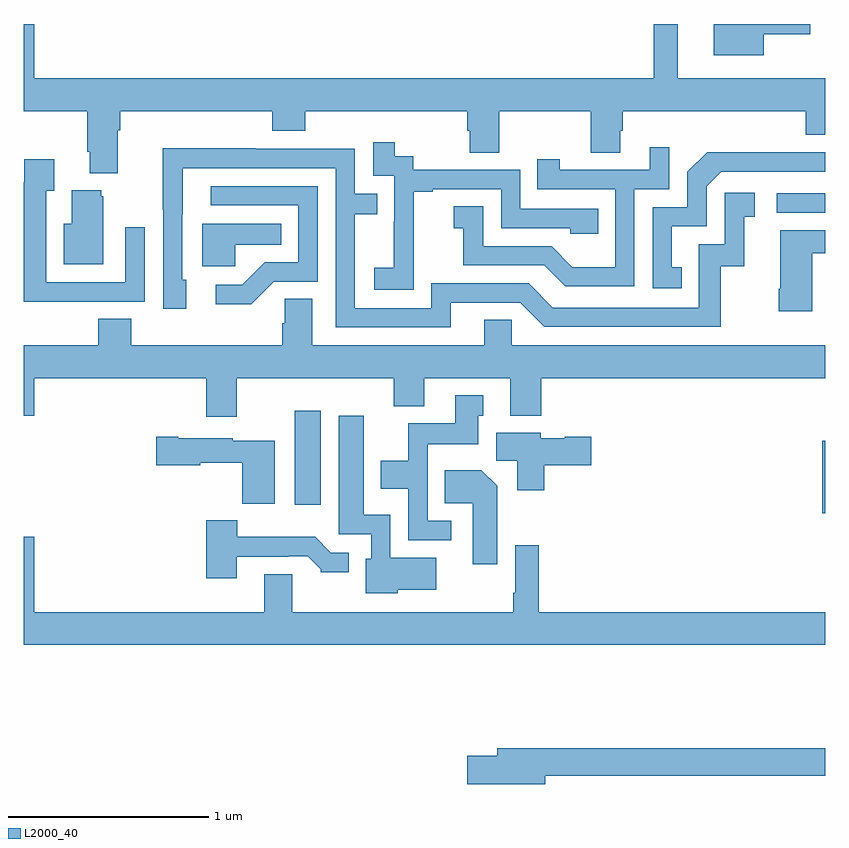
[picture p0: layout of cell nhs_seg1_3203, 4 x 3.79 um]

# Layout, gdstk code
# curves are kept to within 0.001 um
import gdstk
lib = gdstk.Library(unit=1e-6, precision=1e-09)
def R(c, l, rs):  # rectangles x0, y0, x1, y1
    for r in rs: c.add(gdstk.rectangle(r[:2], r[2:], *l))
def P(c, l, *ps):  # polygons
    for p in ps: c.add(gdstk.Polygon(p, *l))
L2000_40 = (2000, 40)

nhs_seg1_3203 = lib.new_cell('nhs_seg1_3203')
R(nhs_seg1_3203, L2000_40, [(288.986,517.758,289,518.118), (286.352,517.8,286.483,518.269), (288.759,519.258,289,519.354)])
P(nhs_seg1_3203, L2000_40, [(288.694,520.148),(288.925,520.148),(288.925,520.199),(288.443,520.199),(288.443,520.043),(288.694,520.043)],
  [(285.469,519.668),(285.482,519.668),(285.482,519.764),(286.241,519.764),(286.241,519.665),(286.406,519.665),(286.406,519.764),(287.213,519.764),(287.213,519.666),(287.225,519.666),(287.225,519.556),(287.373,519.556),(287.373,519.764),(287.83,519.764),(287.83,519.556),(287.977,519.556),(287.977,519.666),(287.99,519.666),(287.99,519.764),(288.902,519.764),(288.902,519.647),(289,519.647),(289,519.928),(288.265,519.928),(288.265,520.199),(288.144,520.199),(288.144,519.928),(285.052,519.928),(285.052,520.199),(285,520.199),(285,519.764),(285.317,519.764),(285.317,519.562),(285.329,519.562),(285.329,519.455),(285.469,519.455)],
  [(286.947,519.079),(286.946,519.079),(286.946,519.363),(287.041,519.363),(287.041,519.375),(287.382,519.375),(287.382,519.18),(287.727,519.18),(287.727,519.153),(287.867,519.153),(287.867,519.276),(287.478,519.276),(287.478,519.471),(286.944,519.471),(286.944,519.54),(286.852,519.54),(286.852,519.61),(286.743,519.61),(286.743,519.441),(286.848,519.441),(286.848,519.212),(286.847,519.212),(286.847,518.983),(286.749,518.983),(286.749,518.873),(286.947,518.873)],
  [(288.048,519.375),(288.222,519.375),(288.222,519.583),(288.125,519.583),(288.125,519.471),(287.674,519.471),(287.674,519.523),(287.563,519.523),(287.563,519.375),(287.952,519.375),(287.952,518.986),(287.738,518.986),(287.634,519.09),(287.292,519.09),(287.292,519.289),(287.145,519.289),(287.145,519.179),(287.194,519.179),(287.194,518.994),(287.597,518.994),(287.702,518.889),(288.048,518.889)],
  [(287.131,518.808),(287.478,518.808),(287.598,518.688),(288.478,518.688),(288.478,518.991),(288.596,518.991),(288.596,519.237),(288.649,519.237),(288.649,519.358),(288.498,519.358),(288.498,519.099),(288.369,519.099),(288.369,518.784),(287.64,518.784),(287.52,518.904),(287.034,518.904),(287.034,518.781),(286.653,518.781),(286.653,519.25),(286.763,519.25),(286.763,519.351),(286.653,519.351),(286.653,519.576),(286.157,519.576),(286.157,519.578),(285.694,519.578),(285.694,519.271),(285.696,519.271),(285.696,518.778),(285.811,518.778),(285.811,518.922),(285.792,518.922),(285.793,519.48),(286.557,519.48),(286.557,518.685),(287.131,518.685)],
  [(288.284,518.985),(288.235,518.985),(288.235,519.189),(288.408,519.189),(288.408,519.39),(288.48,519.462),(289,519.462),(289,519.558),(288.818,519.558),(288.818,519.56),(288.41,519.56),(288.312,519.462),(288.312,519.285),(288.138,519.285),(288.138,518.88),(288.284,518.88)],
  [(285.287,518.814),(285.603,518.814),(285.603,519.184),(285.507,519.184),(285.507,518.91),(285.111,518.91),(285.111,519.367),(285.151,519.367),(285.151,519.523),(285.003,519.523),(285.003,519.41),(285,519.41),(285,518.813),(285.287,518.813)],
  [(286.248,518.913),(286.467,518.913),(286.467,519.39),(285.933,519.39),(285.933,519.294),(286.371,519.294),(286.371,519.009),(286.202,519.009),(286.091,518.898),(285.957,518.898),(285.957,518.801),(286.135,518.801)],
  [(285.397,519.339),(285.386,519.339),(285.386,519.37),(285.239,519.37),(285.239,519.202),(285.2,519.202),(285.2,518.999),(285.397,518.999)],
  [(286.056,519.098),(286.286,519.098),(286.286,519.202),(285.89,519.202),(285.89,518.99),(286.056,518.99)],
  [(288.934,519.055),(289,519.055),(289,519.169),(288.776,519.169),(288.776,518.878),(288.769,518.878),(288.769,518.766),(288.934,518.766)],
  [(287.297,518.723),(287.297,518.596),(286.441,518.596),(286.441,518.828),(286.302,518.828),(286.302,518.705),(286.289,518.705),(286.289,518.596),(285.536,518.596),(285.536,518.729),(285.371,518.729),(285.371,518.596),(285,518.596),(285,518.244),(285.052,518.244),(285.052,518.432),(285.911,518.432),(285.911,518.238),(286.063,518.238),(286.063,518.432),(286.847,518.432),(286.847,518.291),(286.999,518.291),(286.999,518.432),(287.429,518.432),(287.429,518.243),(287.582,518.243),(287.582,518.432),(289,518.432),(289,518.596),(287.436,518.596),(287.436,518.723)],
  [(287.134,517.719),(287.016,517.719),(287.016,518.102),(287.269,518.102),(287.269,518.244),(287.293,518.244),(287.293,518.347),(287.153,518.347),(287.153,518.206),(286.918,518.206),(286.918,518.02),(286.781,518.02),(286.781,517.88),(286.92,517.88),(286.92,517.623),(287.134,517.623)],
  [(286.866,517.376),(287.059,517.376),(287.059,517.534),(286.83,517.534),(286.83,517.75),(286.696,517.75),(286.696,518.245),(286.571,518.245),(286.571,517.653),(286.734,517.653),(286.734,517.53),(286.706,517.53),(286.706,517.358),(286.866,517.358)],
  [(287.597,517.996),(287.833,517.996),(287.833,518.139),(287.7,518.139),(287.7,518.131),(287.58,518.131),(287.58,518.158),(287.357,518.158),(287.357,518.02),(287.462,518.02),(287.462,517.871),(287.597,517.871)],
  [(286.252,518.119),(286.044,518.119),(286.044,518.131),(285.772,518.131),(285.772,518.139),(285.66,518.139),(285.66,517.996),(285.882,517.996),(285.882,518.009),(286.09,518.009),(286.09,517.805),(286.252,517.805)],
  [(287.362,517.894),(287.284,517.972),(287.101,517.972),(287.101,517.808),(287.24,517.808),(287.24,517.503),(287.362,517.503)],
  [(286.063,517.539),(286.319,517.539),(286.319,517.542),(286.418,517.542),(286.482,517.478),(286.482,517.463),(286.621,517.463),(286.621,517.56),(286.533,517.56),(286.455,517.639),(286.066,517.639),(286.066,517.723),(285.911,517.723),(285.911,517.434),(286.063,517.434)],
  [(289,517.264),(287.57,517.264),(287.57,517.597),(287.454,517.597),(287.454,517.36),(287.442,517.36),(287.442,517.264),(286.339,517.264),(286.339,517.454),(286.199,517.454),(286.199,517.264),(285.052,517.264),(285.052,517.639),(285,517.639),(285,517.1),(289,517.1)],
  [(287.602,516.448),(289,516.448),(289,516.584),(287.363,516.584),(287.363,516.548),(287.214,516.548),(287.214,516.406),(287.602,516.406)])

lib.write_gds('nhs_seg1_3203.gds')
